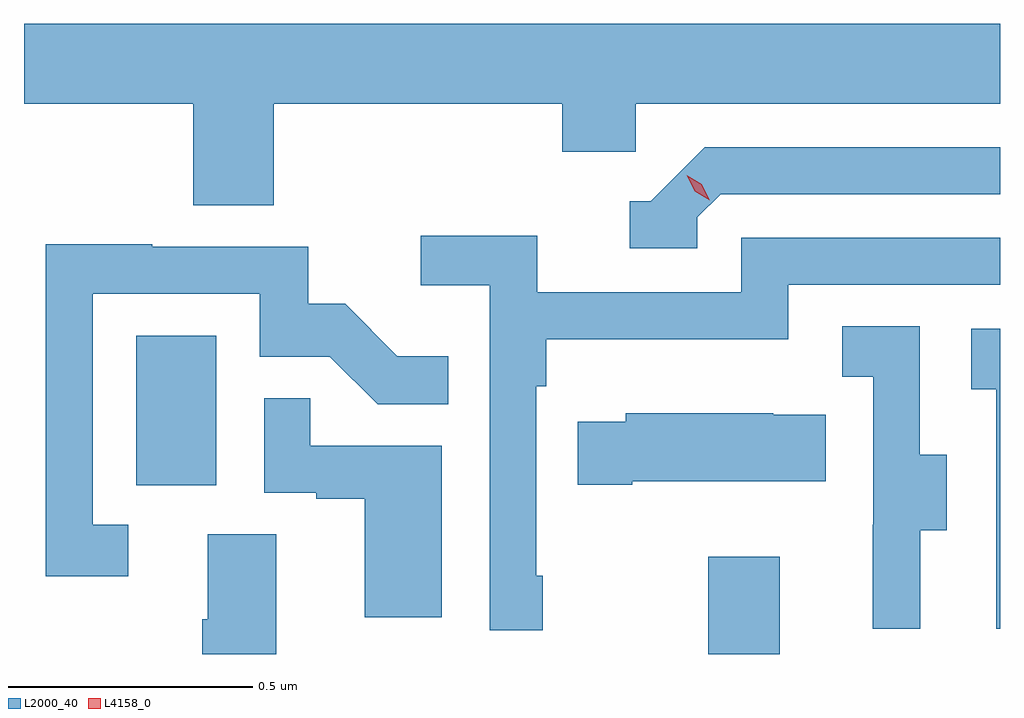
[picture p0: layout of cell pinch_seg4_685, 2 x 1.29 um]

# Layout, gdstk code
import gdstk
lib = gdstk.Library(unit=1e-6, precision=1e-09)
def R(c, l, rs):  # rectangles x0, y0, x1, y1
    for r in rs: c.add(gdstk.rectangle(r[:2], r[2:], *l))
def P(c, l, *ps):  # polygons
    for p in ps: c.add(gdstk.Polygon(p, *l))
L2000_40 = (2000, 40)
L4158_0 = (4158, 0)

pinch_seg4_685 = lib.new_cell('pinch_seg4_685')
R(pinch_seg4_685, L2000_40, [(1129.084,758.396,1129.231,758.596), (1127.912,758.742,1128.076,759.049)])
P(pinch_seg4_685, L2000_40, [(1128.194,759.524),(1128.785,759.524),(1128.785,759.426),(1128.936,759.426),(1128.936,759.524),(1129.682,759.524),(1129.682,759.688),(1127.682,759.688),(1127.682,759.524),(1128.029,759.524),(1128.029,759.316),(1128.194,759.316)],
  [(1129.062,759.291),(1129.11,759.339),(1129.682,759.339),(1129.682,759.435),(1129.077,759.435),(1128.966,759.324),(1128.923,759.324),(1128.923,759.228),(1129.062,759.228)],
  [(1128.745,758.557),(1128.732,758.557),(1128.732,758.945),(1128.752,758.945),(1128.752,759.041),(1129.248,759.041),(1129.248,759.153),(1129.682,759.153),(1129.682,759.249),(1129.152,759.249),(1129.152,759.138),(1128.734,759.138),(1128.734,759.254),(1128.495,759.254),(1128.495,759.152),(1128.636,759.152),(1128.636,758.445),(1128.745,758.445)],
  [(1127.896,758.661),(1127.823,758.661),(1127.823,759.135),(1128.165,759.135),(1128.165,759.006),(1128.309,759.006),(1128.407,758.908),(1128.551,758.908),(1128.551,759.007),(1128.447,759.007),(1128.34,759.114),(1128.264,759.114),(1128.264,759.231),(1127.945,759.231),(1127.945,759.236),(1127.727,759.236),(1127.727,758.556),(1127.896,758.556)],
  [(1129.519,758.65),(1129.573,758.65),(1129.573,758.805),(1129.518,758.805),(1129.518,759.068),(1129.359,759.068),(1129.359,758.965),(1129.422,758.965),(1129.422,758.661),(1129.421,758.661),(1129.421,758.448),(1129.519,758.448)],
  [(1129.682,759.063),(1129.623,759.063),(1129.623,758.939),(1129.674,758.939),(1129.674,758.448),(1129.682,758.448)],
  [(1128.538,758.823),(1128.269,758.823),(1128.269,758.921),(1128.174,758.921),(1128.174,758.727),(1128.281,758.727),(1128.281,758.715),(1128.38,758.715),(1128.38,758.472),(1128.538,758.472)],
  [(1128.928,758.75),(1129.325,758.75),(1129.325,758.887),(1129.217,758.887),(1129.217,758.89),(1128.915,758.89),(1128.915,758.872),(1128.817,758.872),(1128.817,758.743),(1128.928,758.743)],
  [(1128.199,758.642),(1128.059,758.642),(1128.059,758.468),(1128.047,758.468),(1128.047,758.396),(1128.199,758.396)])
P(pinch_seg4_685, L4158_0, [(1129.087,759.326),(1129.056,759.345),(1129.04,759.378),(1129.04,759.378),(1129.04,759.378),(1129.071,759.359),(1129.087,759.326),(1129.087,759.326)])

lib.write_gds('pinch_seg4_685.gds')
